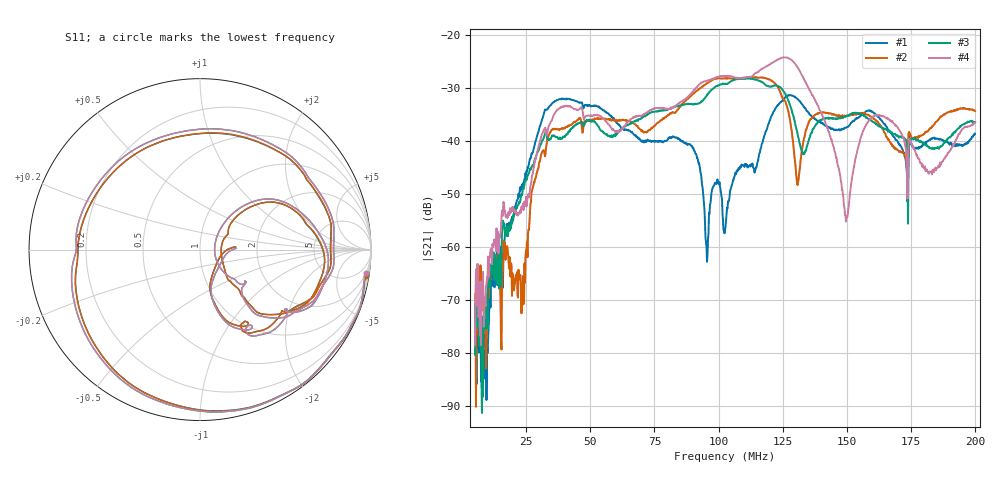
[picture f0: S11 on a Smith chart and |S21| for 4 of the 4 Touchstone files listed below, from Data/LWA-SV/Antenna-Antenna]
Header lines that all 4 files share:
!Keysight Technologies N9917A: A.12.46
!Timezone: (UTC) Coordinated Universal Time
!Model: N9917A
!Serial: MY56071016
!GPS Latitude:
!GPS Longitude:
!GPS TimeStamp: 0001-01-01 00:00:00Z
!GPS Seconds Since Last Read: 0
!Correction: S11(ON U)S21(ON U)S12(ON U)S22(ON U)
!S2P File: Measurements:S11,S21,S12,S22:
# Hz S DB R 50
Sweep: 5 MHz to 200 MHz
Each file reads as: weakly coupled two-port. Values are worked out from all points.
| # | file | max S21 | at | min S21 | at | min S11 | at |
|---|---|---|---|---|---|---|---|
| 1 | LWASV_92XA_90YA_10.Nov.2022.22.32.s2p | -31.33 dB | 128 MHz | -88.9 dB | 9.485 MHz | -18.1 dB | 121.8 MHz |
| 2 | LWASV_92XA_90YB_10.Nov.2022.22.38.s2p | -27.92 dB | 114.6 MHz | -90.2 dB | 5.39 MHz | -18.3 dB | 195.1 MHz |
| 3 | LWASV_92XB_90YA_10.Nov.2022.22.48.s2p | -28.17 dB | 111.3 MHz | -91.4 dB | 7.73 MHz | -21.4 dB | 124 MHz |
| 4 | LWASV_92XB_90YB_10.Nov.2022.22.44.s2p | -24.18 dB | 125.9 MHz | -78.5 dB | 7.34 MHz | -21.4 dB | 124 MHz |
